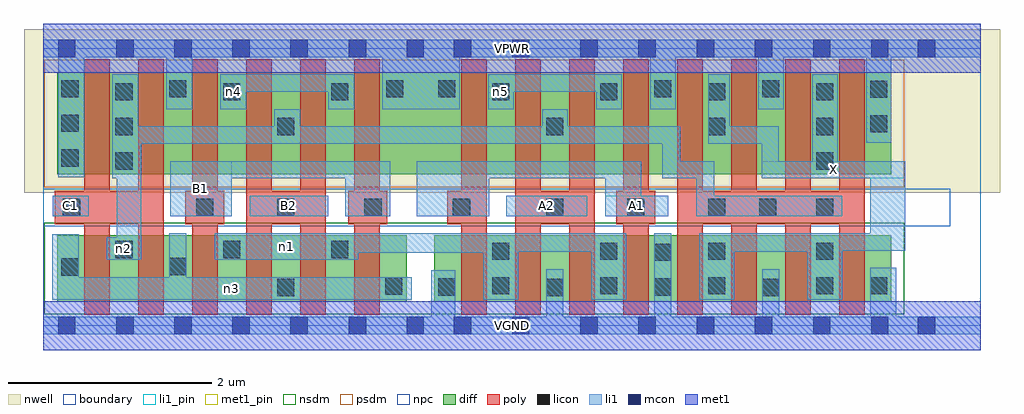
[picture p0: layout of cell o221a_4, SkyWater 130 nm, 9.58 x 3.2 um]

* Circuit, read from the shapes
.subckt o221a_4 A1 A2 B1 B2 C1 VGND VPWR X n1 n2 n3 n4 n5
XM1 n2 C1 n3 VSUBS sky130_fd_pr__nfet_01v8 w=0.65 l=0.25 m=2
XM2 n1 B1 n3 VSUBS sky130_fd_pr__nfet_01v8 w=0.65 l=0.25 m=2
XM3 n3 B2 n1 VSUBS sky130_fd_pr__nfet_01v8 w=0.65 l=0.25 m=2
XM4 n1 A1 VGND VSUBS sky130_fd_pr__nfet_01v8 w=0.65 l=0.25 m=2
XM5 VGND A2 n1 VSUBS sky130_fd_pr__nfet_01v8 w=0.65 l=0.25 m=2
XM6 X n2 VGND VSUBS sky130_fd_pr__nfet_01v8 w=0.65 l=0.25 m=4
XM7 n2 C1 VPWR n6 sky130_fd_pr__pfet_01v8 w=1 l=0.25 m=2
XM8 n4 B1 VPWR n6 sky130_fd_pr__pfet_01v8 w=1 l=0.25 m=2
XM9 n2 B2 n4 n6 sky130_fd_pr__pfet_01v8 w=1 l=0.25 m=2
XM10 n5 A1 VPWR n6 sky130_fd_pr__pfet_01v8 w=1 l=0.25 m=2
XM11 n2 A2 n5 n6 sky130_fd_pr__pfet_01v8 w=1 l=0.25 m=2
XM12 X n2 VPWR n6 sky130_fd_pr__pfet_01v8 w=1 l=0.25 m=4
.ends

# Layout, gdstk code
import gdstk
lib = gdstk.Library(unit=1e-6, precision=1e-09)
def R(c, l, rs):  # rectangles x0, y0, x1, y1
    for r in rs: c.add(gdstk.rectangle(r[:2], r[2:], *l))
def A(c, l, x, y, w, h, nx, ny, dx, dy):  # array of equal rectangles
    R(c, l, [(x+i*dx, y+j*dy, x+i*dx+w, y+j*dy+h) for i in range(nx) for j in range(ny)])
nwell = (64, 20)
diff = (65, 20)
poly = (66, 20)
licon = (66, 44)
li1_pin = (67, 16)
li1 = (67, 20)
mcon = (67, 44)
met1_pin = (68, 16)
met1 = (68, 20)
nsdm = (93, 44)
psdm = (94, 20)
npc = (95, 20)
boundary = (235, 4)

o221a_4 = lib.new_cell('o221a_4')
R(o221a_4, nwell, [(-0.19,1.305,9.39,2.91), (0,1.305,9.2,2.91)])
R(o221a_4, diff, [(0.135,0.235,3.565,0.885), (3.835,0.235,8.325,0.885), (0.135,1.485,8.325,2.485)])
A(o221a_4, poly, 0.4, 0.105, 0.25, 2.51, 6, 1, 0.53, 0)
A(o221a_4, poly, 4.1, 0.105, 0.25, 2.51, 8, 1, 0.53, 0)
R(o221a_4, poly, [(0.11,0.995,1.18,1.325), (1.395,0.995,1.775,1.325), (1.99,0.995,2.77,1.325), (2.995,0.995,3.375,1.325), (3.965,0.995,4.35,1.325), (4.63,0.995,5.41,1.325), (5.625,0.995,6.005,1.325), (6.22,0.995,8.06,1.325)])
A(o221a_4, licon, 4.405, 0.305, 0.17, 0.17, 4, 2, 1.06, 0.34)
A(o221a_4, licon, 0.705, 0.66, 0.17, 0.17, 3, 2, 1.06, 1.55)
A(o221a_4, licon, 4.935, 1.075, 0.17, 0.17, 3, 1, 0.795, 0)
A(o221a_4, licon, 0.175, 1.56, 0.17, 0.17, 1, 3, 0, 0.34)
A(o221a_4, licon, 4.405, 2.21, 0.17, 0.17, 4, 1, 1.06, 0)
R(o221a_4, licon, [(2.295,0.29,2.465,0.46), (4.935,0.29,5.105,0.46), (7.055,0.29,7.225,0.46), (3.875,0.295,4.045,0.465), (5.995,0.295,6.165,0.465), (3.355,0.3,3.525,0.47), (8.115,0.305,8.285,0.475), (0.175,0.49,0.345,0.66), (1.235,0.495,1.405,0.665), (5.995,0.635,6.165,0.805), (0.19,1.075,0.36,1.245), (1.5,1.075,1.67,1.245), (2.295,1.075,2.465,1.245), (3.15,1.075,3.32,1.245), (4.02,1.075,4.19,1.245), (7.025,1.075,7.195,1.245), (7.585,1.075,7.755,1.245), (0.705,1.53,0.875,1.7), (7.585,1.53,7.755,1.7), (0.705,1.87,0.875,2.04), (2.295,1.87,2.465,2.04), (4.935,1.87,5.105,2.04), (6.525,1.87,6.695,2.04), (7.585,1.87,7.755,2.04), (8.115,1.895,8.285,2.065), (8.115,2.235,8.285,2.405), (1.235,2.24,1.405,2.41), (3.365,2.24,3.535,2.41), (3.875,2.24,4.045,2.41), (5.995,2.24,6.165,2.41), (7.055,2.24,7.225,2.41)])
R(o221a_4, li1_pin, [(0.09,1.075,0.445,1.275), (1.245,1.075,1.85,1.615), (2.025,1.075,2.795,1.275), (4.545,1.075,5.34,1.275), (5.515,1.075,6.135,1.275), (7.05,1.445,8.46,1.615)])
A(o221a_4, li1, 4.32, 0.255, 0.34, 0.65, 4, 1, 1.06, 0)
R(o221a_4, li1, [(0,-0.085,9.2,0.085), (3.805,-0.085,4.045,0.545), (4.935,-0.085,5.105,0.555), (5.995,-0.085,6.165,0.905), (7.055,-0.085,7.225,0.555), (8.115,-0.085,8.37,0.565), (0.085,0.255,3.615,0.475), (0.085,0.255,0.345,0.895), (1.235,0.255,1.405,0.905), (0.62,0.645,0.96,0.865), (0.72,0.645,0.96,1.955), (1.68,0.645,3.09,0.905), (1.68,0.715,4.66,0.905), (1.68,0.725,5.72,0.905), (6.44,0.725,7.84,0.905), (6.44,0.735,8.46,0.905), (8.115,0.735,8.46,1.615), (0.09,1.075,0.445,1.275), (1.245,1.075,1.85,1.615), (2.025,1.075,2.795,1.275), (2.965,1.075,3.405,1.615), (3.665,1.075,4.375,1.615), (4.545,1.075,5.34,1.275), (5.515,1.075,6.135,1.275), (5.515,1.075,5.87,1.615), (6.41,1.075,7.84,1.275), (6.41,1.075,6.585,1.615), (0.675,1.445,0.93,2.465), (1.245,1.445,3.405,1.615), (3.665,1.445,5.87,1.615), (6.075,1.445,6.585,1.615), (6.075,1.445,6.25,1.955), (7.05,1.445,8.46,1.615), (7.05,1.445,7.22,1.955), (7.545,1.445,7.795,2.465), (0.145,1.455,0.4,2.805), (0.675,1.785,6.25,1.955), (2.265,1.785,2.52,2.125), (4.895,1.785,5.145,2.125), (6.525,1.785,6.735,2.465), (6.525,1.785,7.22,1.955), (8.075,1.795,8.325,2.805), (1.205,2.125,1.46,2.805), (1.735,2.125,1.99,2.465), (2.795,2.125,3.05,2.465), (3.325,2.125,4.085,2.805), (4.365,2.125,4.615,2.465), (5.425,2.125,5.675,2.465), (5.955,2.125,6.205,2.805), (7.015,2.125,7.265,2.805), (1.735,2.295,3.05,2.465), (4.365,2.295,5.675,2.465), (0,2.635,9.2,2.805)])
A(o221a_4, mcon, 0.145, -0.085, 0.17, 0.17, 5, 2, 0.57, 2.72)
A(o221a_4, mcon, 6.415, -0.085, 0.17, 0.17, 4, 2, 0.57, 2.72)
R(o221a_4, mcon, [(3,-0.085,3.17,0.085), (3.565,-0.085,3.735,0.085), (4.03,-0.085,4.2,0.085), (4.6,-0.085,4.77,0.085), (5.27,-0.085,5.44,0.085), (5.84,-0.085,6.01,0.085), (8.585,-0.085,8.755,0.085), (3,2.635,3.17,2.805), (3.565,2.635,3.735,2.805), (4.03,2.635,4.2,2.805), (4.6,2.635,4.77,2.805), (5.27,2.635,5.44,2.805), (5.84,2.635,6.01,2.805), (8.585,2.635,8.755,2.805)])
R(o221a_4, met1_pin, [(0,-0.24,9.2,0.24), (0,2.48,9.2,2.96)])
R(o221a_4, met1, [(0,-0.24,9.2,0.24), (0,2.48,9.2,2.96)])
R(o221a_4, nsdm, [(0.01,0.11,8.45,1.01)])
R(o221a_4, psdm, [(0.01,1.36,8.45,2.61)])
R(o221a_4, npc, [(0,0.975,8.9,1.345)])
R(o221a_4, boundary, [(0,0,9.2,2.72)])
o221a_4.add(gdstk.Label('A1', (5.825,1.175), layer=67, texttype=5))
o221a_4.add(gdstk.Label('A2', (4.942,1.175), layer=67, texttype=5))
o221a_4.add(gdstk.Label('B1', (1.547,1.345), layer=67, texttype=5))
o221a_4.add(gdstk.Label('B2', (2.41,1.175), layer=67, texttype=5))
o221a_4.add(gdstk.Label('C1', (0.267,1.175), layer=67, texttype=5))
o221a_4.add(gdstk.Label('X', (7.755,1.53), layer=67, texttype=5))
o221a_4.add(gdstk.Label('n3', (1.85,0.365), layer=67, texttype=5))
o221a_4.add(gdstk.Label('n1', (2.385,0.775), layer=67, texttype=5))
o221a_4.add(gdstk.Label('n2', (0.79,0.755), layer=67, texttype=5))
o221a_4.add(gdstk.Label('n4', (1.862,2.295), layer=67, texttype=5))
o221a_4.add(gdstk.Label('n5', (4.49,2.295), layer=67, texttype=5))
o221a_4.add(gdstk.Label('VPWR', (4.6,2.72), layer=68, texttype=5))
o221a_4.add(gdstk.Label('VGND', (4.6,0), layer=68, texttype=5))
o221a_4.add(gdstk.Label('A1', (5.825,1.175), layer=67, texttype=16))
o221a_4.add(gdstk.Label('A2', (4.942,1.175), layer=67, texttype=16))
o221a_4.add(gdstk.Label('B1', (1.547,1.345), layer=67, texttype=16))
o221a_4.add(gdstk.Label('B2', (2.41,1.175), layer=67, texttype=16))
o221a_4.add(gdstk.Label('C1', (0.267,1.175), layer=67, texttype=16))
o221a_4.add(gdstk.Label('X', (7.755,1.53), layer=67, texttype=16))
o221a_4.add(gdstk.Label('VPWR', (4.6,2.72), layer=68, texttype=16))
o221a_4.add(gdstk.Label('VGND', (4.6,0), layer=68, texttype=16))

lib.write_gds('o221a_4.gds')
